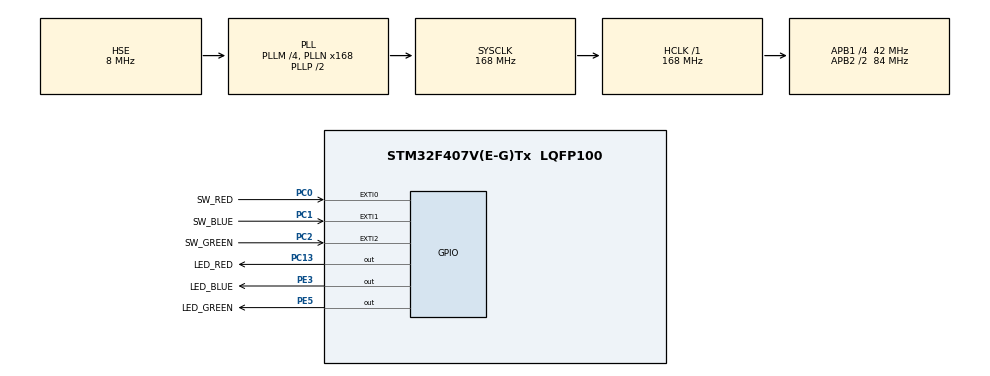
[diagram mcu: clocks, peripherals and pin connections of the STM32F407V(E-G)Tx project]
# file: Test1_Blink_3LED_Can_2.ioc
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Mcu.Family=STM32F4
RCC.PLLSourceVirtual=RCC_PLLSOURCE_HSE
PC15-OSC32_OUT.Mode=LSE-External-Oscillator
PH0-OSC_IN.Signal=RCC_OSC_IN
RCC.CortexFreq_Value=168000000
PC13-ANTI_TAMP.GPIO_Label=LED_RED
PC2.Signal=GPXTI2
PC0.GPIO_Label=SW_RED
PC0.Signal=GPXTI0
RCC.APB1CLKDivider=RCC_HCLK_DIV4
PC14-OSC32_IN.Signal=RCC_OSC32_IN
PC13-ANTI_TAMP.PinState=GPIO_PIN_SET
RCC.SYSCLKSource=RCC_SYSCLKSOURCE_PLLCLK
ProjectManager.StackSize=0x400
PA0-WKUP.Signal=SYS_WKUP
PA0-WKUP.Mode=SYS_WakeUp0
PA13.Signal=SYS_JTMS-SWDIO
NVIC.EXTI1_IRQn=true\:0\:0\:false\:false\:true\:true\:true
ProjectManager.TargetToolchain=STM32CubeIDE
RCC.HCLKFreq_Value=168000000
RCC.APB2TimFreq_Value=168000000
PE5.Signal=GPIO_Output
PC15-OSC32_OUT.Signal=RCC_OSC32_OUT
RCC.AHBFreq_Value=168000000
PH0-OSC_IN.Mode=HSE-External-Oscillator
PE3.PinState=GPIO_PIN_SET
RCC.HSE_VALUE=8000000
board=custom
PC13-ANTI_TAMP.Signal=GPIO_Output
RCC.VCOOutputFreq_Value=336000000
RCC.APB2Freq_Value=84000000
PC14-OSC32_IN.Mode=LSE-External-Oscillator
PA14.Mode=Serial_Wire
PC1.GPIO_Label=SW_BLUE
PE5.PinState=GPIO_PIN_SET
PH1-OSC_OUT.Signal=RCC_OSC_OUT
PA13.Mode=Serial_Wire
Mcu.Name=STM32F407V(E-G)Tx
PC0.GPIO_ModeDefaultEXTI=GPIO_MODE_IT_RISING_FALLING
PH1-OSC_OUT.Mode=HSE-External-Oscillator
RCC.48MHZClocksFreq_Value=84000000
NVIC.EXTI0_IRQn=true\:0\:0\:false\:false\:true\:true\:true
RCC.SYSCLKFreq_VALUE=168000000
Mcu.Package=LQFP100
PE5.GPIO_Label=LED_GREEN
PA14.Signal=SYS_JTCK-SWCLK
ProjectManager.HeapSize=0x200
RCC.HSI_VALUE=16000000
NVIC.PriorityGroup=NVIC_PRIORITYGROUP_4
RCC.APB2CLKDivider=RCC_HCLK_DIV2
NVIC.EXTI2_IRQn=true\:0\:0\:false\:false\:true\:true\:true
RCC.PLLM=4
RCC.PLLN=168
PC1.GPIO_ModeDefaultEXTI=GPIO_MODE_IT_RISING_FALLING
RCC.APB1TimFreq_Value=84000000
PE3.Signal=GPIO_Output
PE3.GPIO_Label=LED_BLUE
RCC.APB1Freq_Value=42000000
PC2.GPIO_Label=SW_GREEN
PC1.Signal=GPXTI1
PC2.GPIO_ModeDefaultEXTI=GPIO_MODE_IT_RISING_FALLING

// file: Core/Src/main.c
/* USER CODE BEGIN Header */
/**
  ******************************************************************************
  * @file           : main.c
  * @brief          : Main program body
  ******************************************************************************
  * @attention
  *
  * <h2><center>&copy; Copyright (c) 2021 STMicroelectronics.
  * All rights reserved.</center></h2>
  *
  * This software component is licensed by ST under BSD 3-Clause license,
  * the "License"; You may not use this file except in compliance with the
  * License. You may obtain a copy of the License at:
  *                        opensource.org/licenses/BSD-3-Clause
  *
  ******************************************************************************
  */
/* USER CODE END Header */
#include "main.h"
#include "gpio.h"
#include "led.h"

void SystemClock_Config(void);

int main(void)
{

  /* MCU Configuration--------------------------------------------------------*/

  /* Reset of all peripherals, Initializes the Flash interface and the Systick. */
  HAL_Init();

  /* Configure the system clock */
  SystemClock_Config();

  /* Initialize all configured peripherals */
  MX_GPIO_Init();

  /* Infinite loop */
  while (1)
  {

    /* USER CODE BEGIN 3 */
	  RED_ON();
	  HAL_Delay(50);
	  RED_OFF();
	  BLUE_ON();
	  HAL_Delay(50);
	  BLUE_OFF();
	  GREEN_ON();
	  HAL_Delay(50);
	  GREEN_OFF();
  }
  /* USER CODE END 3 */
}

void SystemClock_Config(void)
{
  RCC_OscInitTypeDef RCC_OscInitStruct = {0};
  RCC_ClkInitTypeDef RCC_ClkInitStruct = {0};

  /** Configure the main internal regulator output voltage
  */
  __HAL_RCC_PWR_CLK_ENABLE();
  __HAL_PWR_VOLTAGESCALING_CONFIG(PWR_REGULATOR_VOLTAGE_SCALE1);
  /** Initializes the RCC Oscillators according to the specified parameters
  * in the RCC_OscInitTypeDef structure.
  */
  RCC_OscInitStruct.OscillatorType = RCC_OSCILLATORTYPE_HSE;
  RCC_OscInitStruct.HSEState = RCC_HSE_ON;
  RCC_OscInitStruct.PLL.PLLState = RCC_PLL_ON;
  RCC_OscInitStruct.PLL.PLLSource = RCC_PLLSOURCE_HSE;
  RCC_OscInitStruct.PLL.PLLM = 4;
  RCC_OscInitStruct.PLL.PLLN = 168;
  RCC_OscInitStruct.PLL.PLLP = RCC_PLLP_DIV2;
  RCC_OscInitStruct.PLL.PLLQ = 4;
  if (HAL_RCC_OscConfig(&RCC_OscInitStruct) != HAL_OK)
  {
    Error_Handler();
  }
  /** Initializes the CPU, AHB and APB buses clocks
  */
  RCC_ClkInitStruct.ClockType = RCC_CLOCKTYPE_HCLK|RCC_CLOCKTYPE_SYSCLK
                              |RCC_CLOCKTYPE_PCLK1|RCC_CLOCKTYPE_PCLK2;
  RCC_ClkInitStruct.SYSCLKSource = RCC_SYSCLKSOURCE_PLLCLK;
  RCC_ClkInitStruct.AHBCLKDivider = RCC_SYSCLK_DIV1;
  RCC_ClkInitStruct.APB1CLKDivider = RCC_HCLK_DIV4;
  RCC_ClkInitStruct.APB2CLKDivider = RCC_HCLK_DIV2;

  if (HAL_RCC_ClockConfig(&RCC_ClkInitStruct, FLASH_LATENCY_5) != HAL_OK)
  {
    Error_Handler();
  }
}

/* USER CODE BEGIN 4 */
void HAL_GPIO_EXTI_Callback(uint16_t GPIO_Pin)
{
	if((SW_RED())==1)RED_ON();
	else if((SW_RED())==0)RED_OFF();
	if((SW_BLUE())==1)BLUE_ON();
	else if((SW_BLUE())==0)BLUE_OFF();
	if((SW_GREEN())==1)GREEN_ON();
	else if((SW_GREEN())==0)GREEN_OFF();
}
/* USER CODE END 4 */

void Error_Handler(void)
{
  __disable_irq();
  while (1)
  {
  }
}

/************************ (C) COPYRIGHT STMicroelectronics *****END OF FILE****/
